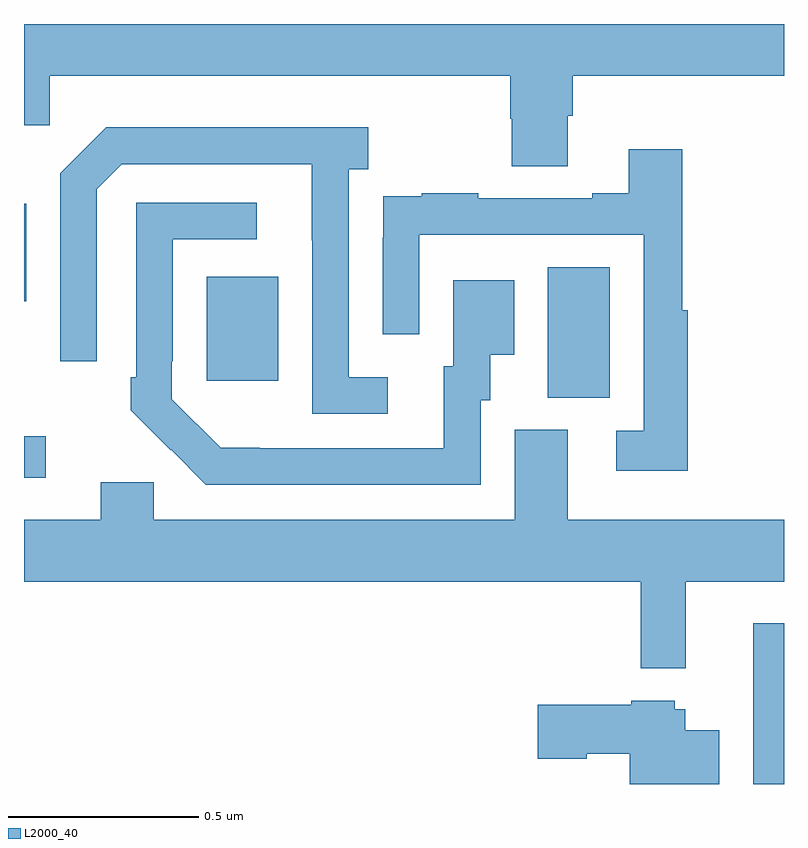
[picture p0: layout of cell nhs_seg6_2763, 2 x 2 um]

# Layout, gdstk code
import gdstk
lib = gdstk.Library(unit=1e-6, precision=1e-09)
def R(c, l, rs):  # rectangles x0, y0, x1, y1
    for r in rs: c.add(gdstk.rectangle(r[:2], r[2:], *l))
def P(c, l, *ps):  # polygons
    for p in ps: c.add(gdstk.Polygon(p, *l))
L2000_40 = (2000, 40)

nhs_seg6_2763 = lib.new_cell('nhs_seg6_2763')
R(nhs_seg6_2763, L2000_40, [(149.919,917.5,150,917.923), (148,918.306,148.057,918.415), (149.378,918.517,149.542,918.86), (148.481,918.561,148.669,918.835), (148,918.77,148.006,919.027)])
P(nhs_seg6_2763, L2000_40, [(149.431,919.258),(149.444,919.258),(149.444,919.364),(150,919.364),(150,919.5),(148,919.5),(148,919.233),(148.068,919.233),(148.068,919.364),(149.279,919.364),(149.279,919.251),(149.284,919.251),(149.284,919.126),(149.431,919.126)],
  [(148.957,918.57),(148.854,918.57),(148.854,919.118),(148.906,919.118),(148.906,919.228),(148.216,919.228),(148.095,919.107),(148.095,918.612),(148.191,918.612),(148.191,919.065),(148.257,919.131),(148.757,919.131),(148.757,918.931),(148.758,918.931),(148.758,918.474),(148.957,918.474)],
  [(149.747,918.747),(149.732,918.747),(149.732,919.171),(149.591,919.171),(149.591,919.054),(149.495,919.054),(149.495,919.041),(149.195,919.041),(149.195,919.054),(149.047,919.054),(149.047,919.047),(148.945,919.047),(148.945,918.938),(148.944,918.938),(148.944,918.684),(149.04,918.684),(149.04,918.945),(149.631,918.945),(149.631,918.429),(149.559,918.429),(149.559,918.324),(149.747,918.324)],
  [(149.202,918.51),(149.227,918.51),(149.227,918.629),(149.29,918.629),(149.29,918.826),(149.129,918.826),(149.129,918.6),(149.105,918.6),(149.105,918.384),(148.621,918.384),(148.621,918.385),(148.518,918.385),(148.389,918.513),(148.389,918.613),(148.392,918.613),(148.392,918.933),(148.612,918.933),(148.612,919.029),(148.296,919.029),(148.296,918.571),(148.281,918.571),(148.281,918.483),(148.386,918.378),(148.387,918.379),(148.478,918.288),(149.202,918.288)],
  [(149.741,918.032),(150,918.032),(150,918.196),(149.431,918.196),(149.431,918.432),(149.291,918.432),(149.291,918.196),(148.341,918.196),(148.341,918.294),(148.202,918.294),(148.202,918.196),(148,918.196),(148,918.032),(149.623,918.032),(149.623,917.804),(149.741,917.804)],
  [(149.83,917.641),(149.74,917.641),(149.74,917.697),(149.712,917.697),(149.712,917.719),(149.598,917.719),(149.598,917.709),(149.352,917.709),(149.352,917.567),(149.481,917.567),(149.481,917.579),(149.594,917.579),(149.594,917.5),(149.83,917.5)])

lib.write_gds('nhs_seg6_2763.gds')
